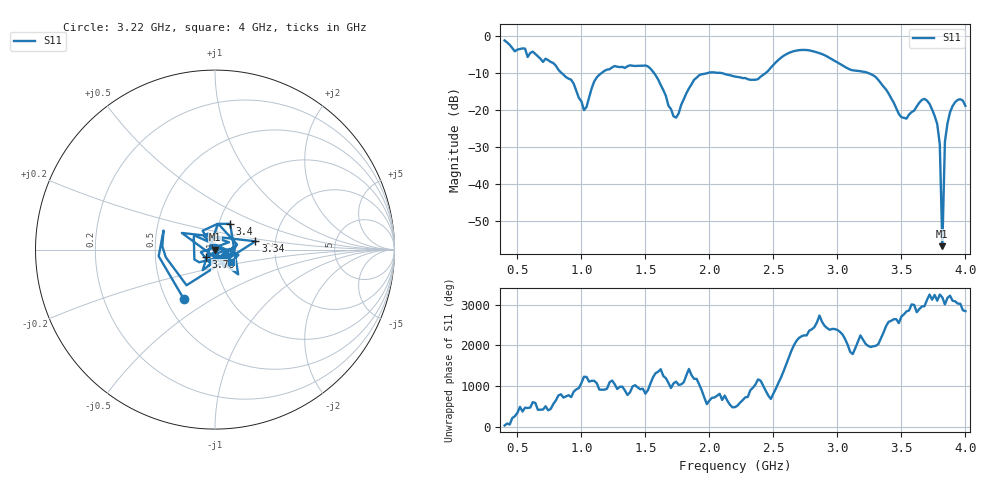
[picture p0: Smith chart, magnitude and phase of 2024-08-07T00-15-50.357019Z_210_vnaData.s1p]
!Created with skrf (http://scikit-rf.org).
# Hz S RI R 50.0
!freq ReS11 ImS11
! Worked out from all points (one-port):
!   181 points, 400 MHz to 4 GHz, reference 50 ohm
!   lowest |S11| = -56.9 dB at 3.82 GHz (marker M1), VSWR 1.00, Z = 50.1 - j0.124 ohm
!   |S11| at or under -10 dB: 1.567 GHz to 1.988 GHz (421 MHz wide, 23.7 % of centre); 2.09 GHz to 2.44 GHz (350.1 MHz wide, 15.5 % of centre); 3.24 GHz to end of sweep (the widest 3 of 4)
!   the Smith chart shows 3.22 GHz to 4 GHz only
!   S11 on the Smith chart (normalised r, x): 3.22 GHz: 0.62, -0.38; 3.34 GHz: 1.57, +0.15; 3.4 GHz: 1.13, +0.33; 3.78 GHz: 0.90, -0.08; 4 GHz: 1.19, -0.16
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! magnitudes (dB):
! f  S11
! 400 MHz  -1.2
! 860 MHz  -10.5
! 940 MHz  -12.9
! 1.02 GHz  -20.1
! 1.12 GHz  -11.2
! 1.3 GHz  -8.4
! 1.52 GHz  -8.2
! 1.6 GHz  -11.8
! 1.72 GHz  -21.8
! 1.76 GHz  -20.9
! 1.92 GHz  -10.6
! 2.2 GHz  -11.0
! 2.38 GHz  -11.7
! 2.66 GHz  -4.1
! 3.1 GHz  -9.1
! 3.22 GHz  -9.8
! 3.34 GHz  -12.8
! 3.4 GHz  -15.6
! 3.5 GHz  -22.0
! 3.56 GHz  -21.2
! 3.68 GHz  -17.0
! 3.78 GHz  -23.8
! 3.8 GHz  -29.3
! 3.82 GHz  -56.9
! 3.84 GHz  -28.6
! 3.86 GHz  -23.7
! 3.92 GHz  -17.9
! 4 GHz  -18.9
